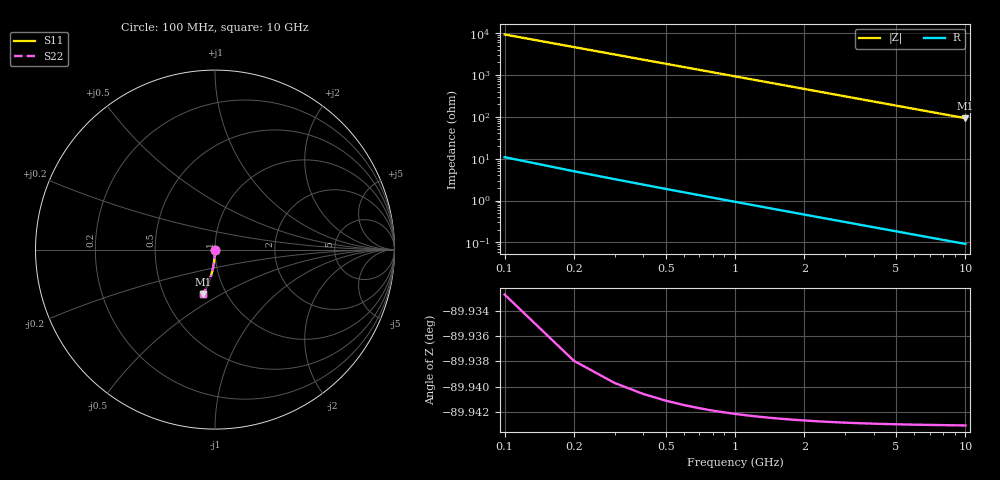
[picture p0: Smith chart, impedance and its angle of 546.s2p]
# Hz S RI R 50.00
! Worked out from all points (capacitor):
!   100 points, 100 MHz to 10 GHz, reference 50 ohm
!   read as one part in shunt: C = 172 fF near 100 MHz
!   lowest |Z| = 92.5 ohm at 10 GHz (marker M1)
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1e8  -2.88e-06 -0.00268  1 -0.00273  1 -0.00273  -2.88e-06 -0.00268
2e8  -2.75e-05 -0.00537  1 -0.00547  1 -0.00547  -2.75e-05 -0.00537
3e8  -6.68e-05 -0.00805  0.9999 -0.0082  0.9999 -0.0082  -6.68e-05 -0.00805
4e8  -0.000121 -0.0107  0.9999 -0.0109  0.9999 -0.0109  -0.000121 -0.0107
5e8  -0.000189 -0.0134  0.9998 -0.0137  0.9998 -0.0137  -0.000189 -0.0134
6e8  -0.000273 -0.0161  0.9997 -0.0164  0.9997 -0.0164  -0.000273 -0.0161
7e8  -0.000371 -0.0188  0.9996 -0.0191  0.9996 -0.0191  -0.000371 -0.0188
8e8  -0.000483 -0.0215  0.9995 -0.0219  0.9995 -0.0219  -0.000483 -0.0215
9e8  -0.00061 -0.0241  0.9994 -0.0246  0.9994 -0.0246  -0.00061 -0.0241
1.1e9  -0.000908 -0.0295  0.9991 -0.03  0.9991 -0.03  -0.000908 -0.0295
1.4e9  -0.00146 -0.0375  0.9985 -0.0382  0.9985 -0.0382  -0.00146 -0.0375
1.8e9  -0.00241 -0.0482  0.9976 -0.0491  0.9976 -0.0491  -0.00241 -0.0482
2.1e9  -0.00327 -0.0561  0.9967 -0.0572  0.9967 -0.0572  -0.00327 -0.0561
2.5e9  -0.00462 -0.0667  0.9954 -0.068  0.9954 -0.068  -0.00462 -0.0667
2.9e9  -0.0062 -0.0773  0.9938 -0.0788  0.9938 -0.0788  -0.0062 -0.0773
3.4e9  -0.00848 -0.0904  0.9915 -0.0921  0.9915 -0.0921  -0.00848 -0.0904
4.2e9  -0.0129 -0.1112  0.9871 -0.1133  0.9871 -0.1133  -0.0129 -0.1112
5.1e9  -0.0188 -0.1341  0.9812 -0.1367  0.9812 -0.1367  -0.0188 -0.1341
5.9e9  -0.025 -0.1541  0.975 -0.1571  0.975 -0.1571  -0.025 -0.1541
6.7e9  -0.032 -0.1737  0.968 -0.1772  0.968 -0.1772  -0.032 -0.1737
8.4e9  -0.0493 -0.2138  0.9507 -0.2181  0.9507 -0.2181  -0.0493 -0.2138
1e10  -0.0683 -0.2492  0.9317 -0.2544  0.9317 -0.2544  -0.0683 -0.2492
